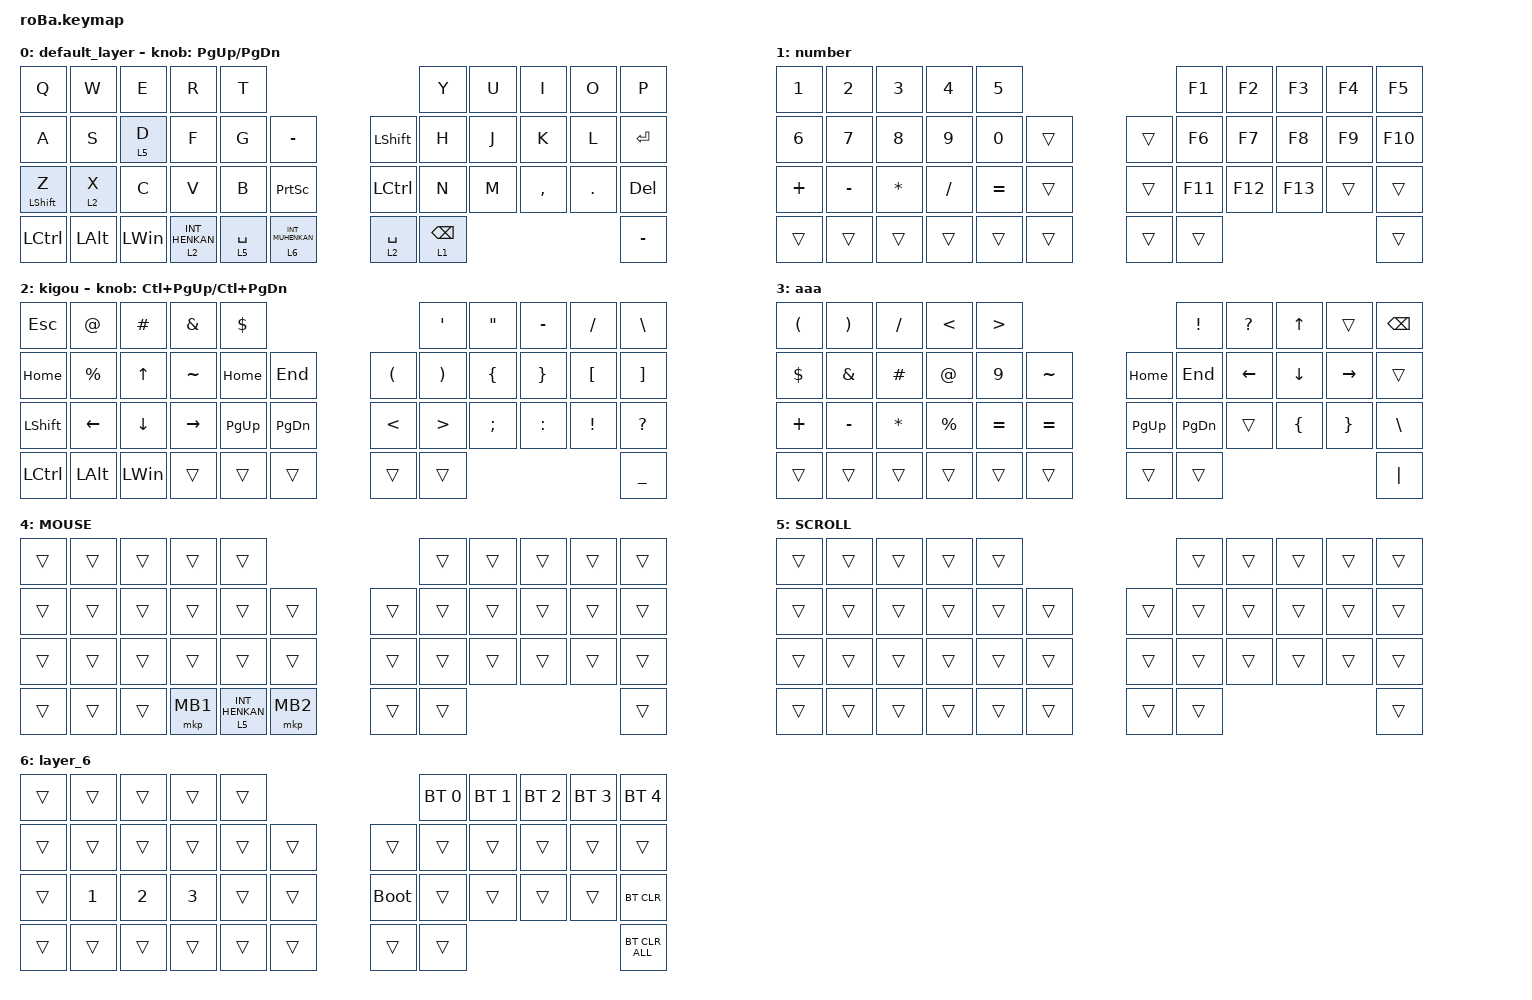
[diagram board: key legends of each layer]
#include <behaviors.dtsi>
#include <dt-bindings/zmk/bt.h>
#include <dt-bindings/zmk/keys.h>
#include <dt-bindings/zmk/pointing.h>

#define MOUSE 4
#define SCROLL 5
#define NUM 6

&mt {
    flavor = "balanced";
    quick-tap-ms = <0>;
};

/ {
    combos { compatible = "zmk,combos"; };

    macros {
        to_layer_0: to_layer_0 {
            compatible = "zmk,behavior-macro-one-param";
            #binding-cells = <1>;
            bindings = <&to 0 &macro_param_1to1 &kp MACRO_PLACEHOLDER>;
            label = "TO_LAYER_0";
        };

        screenshot: new_macro {
            compatible = "zmk,behavior-macro";
            #binding-cells = <0>;
            bindings = <&kp LEFT_WIN &kp LEFT_SHIFT &kp S>;
            label = "NEW_MACRO";
            tap-ms = <10>;
        };

        new_macro2: new_macro2 {
            compatible = "zmk,behavior-macro";
            #binding-cells = <0>;
            bindings = <&kt LEFT_ALT &kp SINGLE_QUOTE>;
            label = "NEW_MACRO2";
        };
    };

    behaviors {
        lt_to_layer_0: lt_to_layer_0 {
            compatible = "zmk,behavior-hold-tap";
            label = "LAYER_TAP_TO_0";
            bindings = <&mo>, <&to_layer_0>;

            #binding-cells = <2>;
            tapping-term-ms = <200>;
        };
    };

    keymap {
        compatible = "zmk,keymap";

        default_layer {
            bindings = <
&kp Q             &kp W         &kp E         &kp R                        &kp T                                                             &kp Y            &kp U  &kp I      &kp O    &kp P
&kp A             &kp S         &lt 5 D       &kp F                        &kp G        &kp MINUS                          &kp LEFT_SHIFT    &kp H            &kp J  &kp K      &kp L    &kp ENTER
&mt LEFT_SHIFT Z  &lt 2 X       &kp C         &kp V                        &kp B        &kp PRINTSCREEN                    &kp LEFT_CONTROL  &kp N            &kp M  &kp COMMA  &kp DOT  &kp DELETE
&kp LCTRL         &kp LEFT_ALT  &kp LEFT_WIN  &lt_to_layer_0 2 INT_HENKAN  &lt 5 SPACE  &lt_to_layer_0 6 INT_MUHENKAN      &lt 2 SPACE       &lt 1 BACKSPACE                             &kp MINUS
            >;

            sensor-bindings = <&inc_dec_kp PG_UP PAGE_DOWN>;
        };

        number {
            bindings = <
&kp NUMBER_1  &kp NUMBER_2  &kp NUMBER_3  &kp NUMBER_4  &kp NUMBER_5                      &kp F1   &kp F2   &kp F3   &kp F4  &kp F5
&kp NUMBER_6  &kp NUMBER_7  &kp NUMBER_8  &kp NUMBER_9  &kp NUMBER_0  &trans      &trans  &kp F6   &kp F7   &kp F8   &kp F9  &kp F10
&kp PLUS      &kp MINUS     &kp ASTRK     &kp SLASH     &kp EQUAL     &trans      &trans  &kp F11  &kp F12  &kp F13  &trans  &trans
&trans        &trans        &trans        &trans        &trans        &trans      &trans  &trans                             &trans
            >;
        };

        kigou {
            bindings = <
&kp ESCAPE        &kp AT        &kp HASH      &kp AMPERSAND  &kp DOLLAR                                            &kp SINGLE_QUOTE       &kp DOUBLE_QUOTES  &kp MINUS        &kp SLASH         &kp BACKSLASH
&kp HOME          &kp PERCENT   &kp UP        &kp TILDE      &kp HOME     &kp END            &kp LEFT_PARENTHESIS  &kp RIGHT_PARENTHESIS  &kp LEFT_BRACE     &kp RIGHT_BRACE  &kp LEFT_BRACKET  &kp RIGHT_BRACKET
&kp LEFT_SHIFT    &kp LEFT      &kp DOWN      &kp RIGHT      &kp PAGE_UP  &kp PAGE_DOWN      &kp LESS_THAN         &kp GREATER_THAN       &kp SEMI           &kp COLON        &kp EXCLAMATION   &kp QUESTION
&kp LEFT_CONTROL  &kp LEFT_ALT  &kp LEFT_WIN  &trans         &trans       &trans             &trans                &trans                                                                       &kp UNDER
            >;

            sensor-bindings = <&inc_dec_kp LC(PAGE_UP) LC(PAGE_DOWN)>;
        };

        aaa {
            bindings = <
&kp LEFT_PARENTHESIS  &kp RIGHT_PARENTHESIS  &kp SLASH  &kp LESS_THAN  &kp GREATER_THAN                              &kp EXCLAMATION  &kp QUESTION    &kp UP_ARROW    &trans           &kp BACKSPACE
&kp DOLLAR            &kp AMPERSAND          &kp HASH   &kp AT         &kp NUMBER_9      &kp TILDE      &kp HOME     &kp END          &kp LEFT_ARROW  &kp DOWN_ARROW  &kp RIGHT_ARROW  &trans
&kp PLUS              &kp MINUS              &kp ASTRK  &kp PERCENT    &kp EQUAL         &kp EQUAL      &kp PAGE_UP  &kp PAGE_DOWN    &trans          &kp LEFT_BRACE  &kp RIGHT_BRACE  &kp BACKSLASH
&trans                &trans                 &trans     &trans         &trans            &trans         &trans       &trans                                                            &kp PIPE
            >;
        };

        MOUSE {
            bindings = <
&trans  &trans  &trans  &trans    &trans                                  &trans  &trans  &trans  &trans  &trans
&trans  &trans  &trans  &trans    &trans            &trans        &trans  &trans  &trans  &trans  &trans  &trans
&trans  &trans  &trans  &trans    &trans            &trans        &trans  &trans  &trans  &trans  &trans  &trans
&trans  &trans  &trans  &mkp MB1  &lt 5 INT_HENKAN  &mkp MB2      &trans  &trans                          &trans
            >;
        };

        SCROLL {
            bindings = <
&trans  &trans  &trans  &trans  &trans                      &trans  &trans  &trans  &trans  &trans
&trans  &trans  &trans  &trans  &trans  &trans      &trans  &trans  &trans  &trans  &trans  &trans
&trans  &trans  &trans  &trans  &trans  &trans      &trans  &trans  &trans  &trans  &trans  &trans
&trans  &trans  &trans  &trans  &trans  &trans      &trans  &trans                          &trans
            >;
        };

        layer_6 {
            bindings = <
&trans  &trans        &trans        &trans        &trans                           &bt BT_SEL 0  &bt BT_SEL 1  &bt BT_SEL 2  &bt BT_SEL 3  &bt BT_SEL 4
&trans  &trans        &trans        &trans        &trans  &trans      &trans       &trans        &trans        &trans        &trans        &trans
&trans  &kp NUMBER_1  &kp NUMBER_2  &kp NUMBER_3  &trans  &trans      &bootloader  &trans        &trans        &trans        &trans        &bt BT_CLR
&trans  &trans        &trans        &trans        &trans  &trans      &trans       &trans                                                  &bt BT_CLR_ALL
            >;
        };
    };
};
